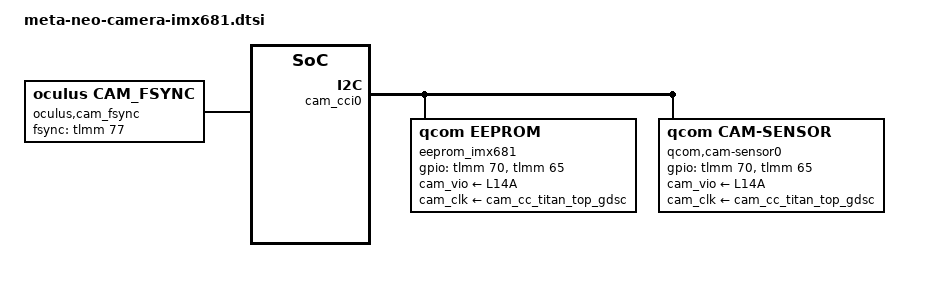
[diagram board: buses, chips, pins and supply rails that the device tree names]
#include <dt-bindings/clock/qcom,camcc-neo.h>
#include <dt-bindings/camera/msm-camera.h>

&soc {
	qcom,cam-res-mgr {
		compatible = "qcom,cam-res-mgr";
		status = "ok";
	};
};

&cam_cci0 {
	eeprom_imx681: qcom,eeprom0 {
		cell-index = <0>;
		compatible = "qcom,eeprom";
		cam_vio-supply  = <&L14A>;
		cam_clk-supply  = <&cam_cc_titan_top_gdsc>;
		regulator-names = "cam_vio",
			"cam_clk" ;
		rgltr-cntrl-support;
		rgltr-min-voltage  = <1800000 0>;
		rgltr-max-voltage  = <1800000 0>;
		rgltr-load-current = <2700  0>;
		gpio-no-mux = <0>;
		pinctrl-names = "cam_default", "cam_suspend";
		pinctrl-0 = <&cam_sensor_mclk1_active
			&cam_sensor_active_rst0>;
		pinctrl-1 = <&cam_sensor_mclk1_suspend
			&cam_sensor_suspend_rst0>;
		gpios = <&tlmm 70 0>,
			<&tlmm 65 0>;
		gpio-reset = <1>;
		gpio-req-tbl-num = <0 1>;
		gpio-req-tbl-flags = <1 0>;
		gpio-req-tbl-label = "CAMIF_MCLK1",
					"CAM_RESET0";
		cci-master = <0>;
		clocks = <&camcc CAM_CC_MCLK1_CLK>;
		clock-names = "cam_clk";
		clock-cntl-level = "nominal";
		clock-rates = <24000000>;
		status = "ok";
	};

	qcom,cam-sensor0 {
		cell-index = <0>;
		compatible = "qcom,cam-sensor";
		csiphy-sd-index = <2>;
		eeprom-src = <&eeprom_imx681>;
		sensor-position-roll = <0>;
		sensor-position-pitch = <0>;
		sensor-position-yaw = <180>;
		cam_vio-supply  = <&L14A>;
		cam_clk-supply  = <&cam_cc_titan_top_gdsc>;
		regulator-names = "cam_vio",
			"cam_clk" ;
		rgltr-cntrl-support;
		rgltr-min-voltage  = <1800000 0>;
		rgltr-max-voltage  = <1800000 0>;
		rgltr-load-current = <2700  0>;
		gpio-no-mux = <0>;
		pinctrl-names = "cam_default", "cam_suspend";
		pinctrl-0 = <&cam_sensor_mclk1_active
			&cam_sensor_active_rst0>;
		pinctrl-1 = <&cam_sensor_mclk1_suspend
			&cam_sensor_suspend_rst0>;
		gpios = <&tlmm 70 0>,
			<&tlmm 65 0>;
		gpio-reset = <1>;
		gpio-req-tbl-num = <0 1>;
		gpio-req-tbl-flags = <1 0>;
		gpio-req-tbl-label = "CAMIF_MCLK1",
					"CAM_RESET0";
		cci-master = <0>;
		clocks = <&camcc CAM_CC_MCLK1_CLK>;
		clock-names = "cam_clk";
		clock-cntl-level = "nominal";
		clock-rates = <24000000>;
		status = "ok";
	};
};

&tlmm {
	fsync_input_mode: fsync_input_mode {
		mux {
			pins = "gpio77";
			function = "gpio";
		};

		config {
			pins = "gpio77";
			drive-strength = <2>;
			bias-pull-down;
			input-enable;
		};
	};
};

&soc {
	oculus,cam_fsync {
		compatible = "oculus,cam_fsync";
		pinctrl-names = "input";
		pinctrl-0 = <&fsync_input_mode>;
		fsync-gpio  = <&tlmm 77 0>;
		status = "ok";
	};
};
